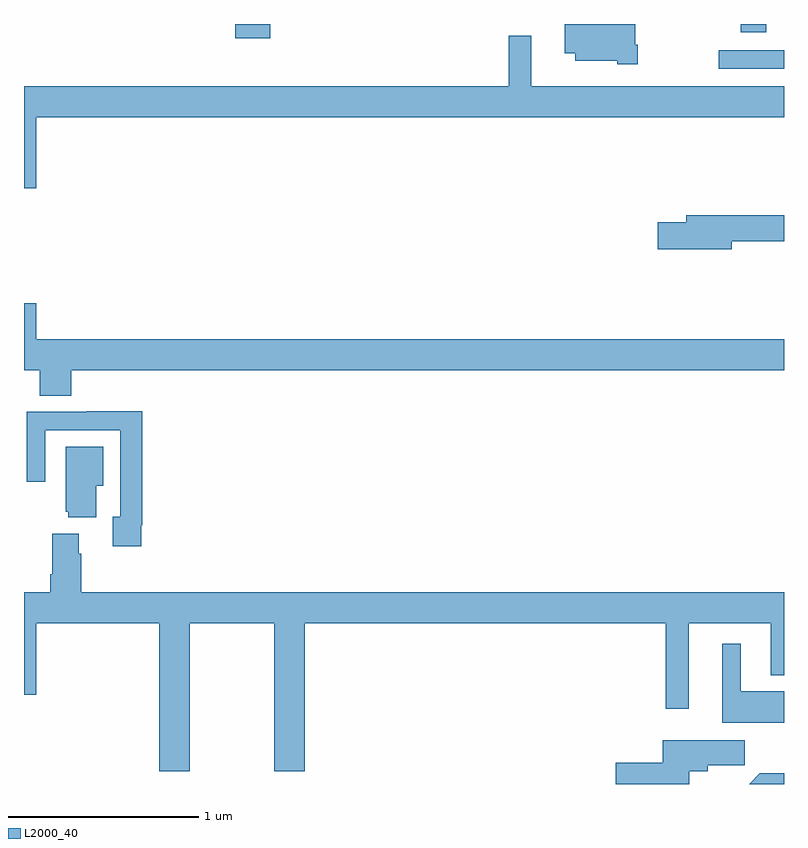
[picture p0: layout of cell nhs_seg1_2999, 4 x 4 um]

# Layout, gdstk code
import gdstk
lib = gdstk.Library(unit=1e-6, precision=1e-09)
def R(c, l, rs):  # rectangles x0, y0, x1, y1
    for r in rs: c.add(gdstk.rectangle(r[:2], r[2:], *l))
def P(c, l, *ps):  # polygons
    for p in ps: c.add(gdstk.Polygon(p, *l))
L2000_40 = (2000, 40)

nhs_seg1_2999 = lib.new_cell('nhs_seg1_2999')
R(nhs_seg1_2999, L2000_40, [(276.657,575.964,277,576.06), (274.112,576.123,274.295,576.199), (276.773,576.156,276.907,576.199)])
P(nhs_seg1_2999, L2000_40, [(276.231,576.091),(276.217,576.091),(276.217,576.199),(275.846,576.199),(275.846,576.044),(275.9,576.044),(275.9,576.005),(276.123,576.005),(276.123,575.987),(276.231,575.987)],
  [(273.064,575.708),(277,575.708),(277,575.872),(275.67,575.872),(275.67,576.136),(275.551,576.136),(275.551,575.872),(273,575.872),(273,575.334),(273.064,575.334)],
  [(276.724,575.056),(277,575.056),(277,575.192),(276.485,575.192),(276.485,575.156),(276.336,575.156),(276.336,575.014),(276.724,575.014)],
  [(273.248,574.376),(277,574.376),(277,574.54),(273.064,574.54),(273.064,574.729),(273,574.729),(273,574.376),(273.083,574.376),(273.083,574.243),(273.248,574.243)],
  [(273.616,573.562),(273.623,573.562),(273.623,574.16),(273.331,574.16),(273.331,574.158),(273.015,574.158),(273.015,573.789),(273.111,573.789),(273.111,574.062),(273.507,574.062),(273.507,573.606),(273.467,573.606),(273.467,573.45),(273.616,573.45)],
  [(273.379,573.77),(273.418,573.77),(273.418,573.973),(273.221,573.973),(273.221,573.633),(273.233,573.633),(273.233,573.602),(273.379,573.602)],
  [(273.873,573.044),(274.318,573.044),(274.318,572.265),(274.478,572.265),(274.478,573.044),(276.378,573.044),(276.378,572.595),(276.499,572.595),(276.499,573.044),(276.929,573.044),(276.929,572.771),(277,572.771),(277,573.208),(273.302,573.208),(273.302,573.41),(273.289,573.41),(273.289,573.517),(273.149,573.517),(273.149,573.304),(273.137,573.304),(273.137,573.208),(273,573.208),(273,572.67),(273.064,572.67),(273.064,573.044),(273.713,573.044),(273.713,572.265),(273.873,572.265)],
  [(277,572.686),(276.772,572.686),(276.772,572.938),(276.674,572.938),(276.674,572.522),(277,572.522)],
  [(276.502,572.267),(276.598,572.267),(276.598,572.299),(276.793,572.299),(276.793,572.428),(276.362,572.428),(276.362,572.312),(276.114,572.312),(276.114,572.199),(276.502,572.199)],
  [(277,572.255),(276.872,572.255),(276.816,572.199),(277,572.199)])

lib.write_gds('nhs_seg1_2999.gds')
